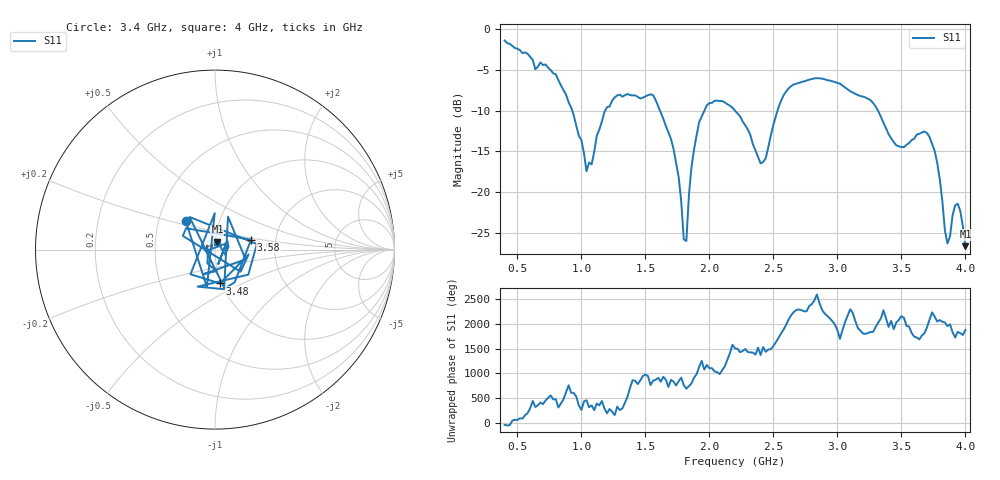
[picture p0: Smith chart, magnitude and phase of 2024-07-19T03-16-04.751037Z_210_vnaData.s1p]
!Created with skrf (http://scikit-rf.org).
# Hz S RI R 50.0
!freq ReS11 ImS11
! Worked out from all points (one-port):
!   181 points, 400 MHz to 4 GHz, reference 50 ohm
!   lowest |S11| = -26.7 dB at 4 GHz (marker M1), VSWR 1.10, Z = 51.1 + j4.55 ohm
!   |S11| at or under -10 dB: 1.615 GHz to 1.96 GHz (345.6 MHz wide, 19.3 % of centre); 2.2 GHz to 2.532 GHz (331.8 MHz wide, 14 % of centre); 3.317 GHz to end of sweep (the widest 3 of 4)
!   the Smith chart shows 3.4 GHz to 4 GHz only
!   S11 on the Smith chart (normalised r, x): 3.4 GHz: 0.69, +0.23; 3.48 GHz: 0.98, -0.39; 3.58 GHz: 1.49, +0.17; 4 GHz: 1.02, +0.09
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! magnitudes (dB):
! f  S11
! 400 MHz  -1.4
! 860 MHz  -7.5
! 1.04 GHz  -17.5
! 1.18 GHz  -10.2
! 1.3 GHz  -8.0
! 1.56 GHz  -8.1
! 1.7 GHz  -13.5
! 1.76 GHz  -18.2
! 1.8 GHz  -25.8
! 1.82 GHz  -26.0
! 1.86 GHz  -17.0
! 1.92 GHz  -11.4
! 2.04 GHz  -8.8
! 2.2 GHz  -10.0
! 2.4 GHz  -16.5
! 2.56 GHz  -8.8
! 2.66 GHz  -6.8
! 3.1 GHz  -7.6
! 3.26 GHz  -8.7
! 3.4 GHz  -12.9
! 3.48 GHz  -14.4
! 3.56 GHz  -14.0
! 3.58 GHz  -13.6
! 3.72 GHz  -13.2
! 3.78 GHz  -16.5
! 3.86 GHz  -26.3
! 3.94 GHz  -21.4
! 4 GHz  -26.7
